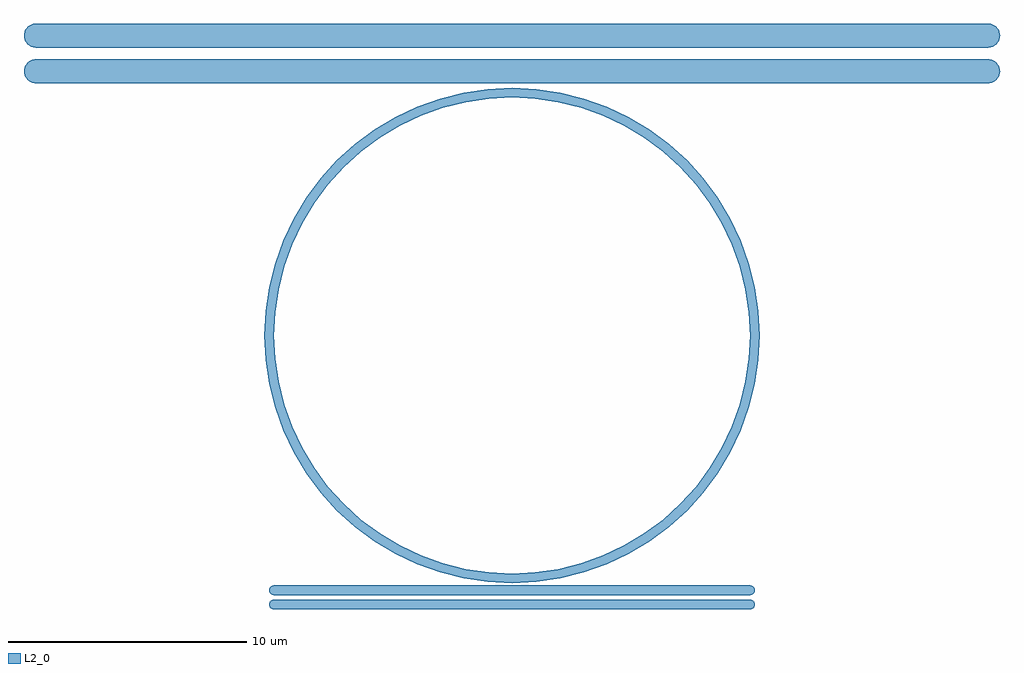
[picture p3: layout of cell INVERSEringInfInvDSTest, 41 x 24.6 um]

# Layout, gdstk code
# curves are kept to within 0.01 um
import gdstk
lib = gdstk.Library(unit=1e-6, precision=1e-09)
def R(c, l, rs):  # rectangles x0, y0, x1, y1
    for r in rs: c.add(gdstk.rectangle(r[:2], r[2:], *l))
def P(c, l, *ps):  # polygons
    for p in ps: c.add(gdstk.Polygon(p, *l))
L2_0 = (2, 0)

inverseringinfinvdstest = lib.new_cell('INVERSEringInfInvDSTest')
R(inverseringinfinvdstest, L2_0, [(-10,-11.5,10,-11.1), (-10,-10.9,10,-10.5), (-20,10.6,20,11.6), (-20,12.1,20,13.1)])
P(inverseringinfinvdstest, L2_0, [(0,-10.4),(-1.019,-10.35),(-2.029,-10.2),(-3.019,-9.952),(-3.98,-9.608),(-4.903,-9.172),(-5.778,-8.647),(-6.598,-8.039),(-7.354,-7.354),(-8.039,-6.598),(-8.647,-5.778),(-9.172,-4.903),(-9.608,-3.98),(-9.952,-3.019),(-10.2,-2.029),(-10.35,-1.019),(-10.4,0),(-10.35,1.019),(-10.2,2.029),(-9.952,3.019),(-9.608,3.98),(-9.172,4.903),(-8.647,5.778),(-8.039,6.598),(-7.354,7.354),(-6.598,8.039),(-5.778,8.647),(-4.903,9.172),(-3.98,9.608),(-3.019,9.952),(-2.029,10.2),(-1.019,10.35),(0,10.4),(1.019,10.35),(2.029,10.2),(3.019,9.952),(3.98,9.608),(4.903,9.172),(5.778,8.647),(6.598,8.039),(7.354,7.354),(8.039,6.598),(8.647,5.778),(9.172,4.903),(9.608,3.98),(9.952,3.019),(10.2,2.029),(10.35,1.019),(10.4,0),(10,0),(9.952,0.98),(9.808,1.951),(9.569,2.903),(9.239,3.827),(8.819,4.714),(8.315,5.556),(7.73,6.344),(7.071,7.071),(6.344,7.73),(5.556,8.315),(4.714,8.819),(3.827,9.239),(2.903,9.569),(1.951,9.808),(0.98,9.952),(0,10),(-0.98,9.952),(-1.951,9.808),(-2.903,9.569),(-3.827,9.239),(-4.714,8.819),(-5.556,8.315),(-6.344,7.73),(-7.071,7.071),(-7.73,6.344),(-8.315,5.556),(-8.819,4.714),(-9.239,3.827),(-9.569,2.903),(-9.808,1.951),(-9.952,0.98),(-10,0),(-9.952,-0.98),(-9.808,-1.951),(-9.569,-2.903),(-9.239,-3.827),(-8.819,-4.714),(-8.315,-5.556),(-7.73,-6.344),(-7.071,-7.071),(-6.344,-7.73),(-5.556,-8.315),(-4.714,-8.819),(-3.827,-9.239),(-2.903,-9.569),(-1.951,-9.808),(-0.98,-9.952),(0,-10),(0.98,-9.952),(1.951,-9.808),(2.903,-9.569),(3.827,-9.239),(4.714,-8.819),(5.556,-8.315),(6.344,-7.73),(7.071,-7.071),(7.73,-6.344),(8.315,-5.556),(8.819,-4.714),(9.239,-3.827),(9.569,-2.903),(9.808,-1.951),(9.952,-0.98),(10,0),(10.4,0),(10.35,-1.019),(10.2,-2.029),(9.952,-3.019),(9.608,-3.98),(9.172,-4.903),(8.647,-5.778),(8.039,-6.598),(7.354,-7.354),(6.598,-8.039),(5.778,-8.647),(4.903,-9.172),(3.98,-9.608),(3.019,-9.952),(2.029,-10.2),(1.019,-10.35)],
  [(20,10.6),(20,11.6),(20.101,11.59),(20.195,11.561),(20.354,11.454),(20.461,11.295),(20.49,11.201),(20.5,11.1),(20.49,10.999),(20.461,10.905),(20.354,10.746),(20.195,10.639),(20.101,10.61)],
  [(-20,10.6),(-20.101,10.61),(-20.195,10.639),(-20.354,10.746),(-20.461,10.905),(-20.49,10.999),(-20.5,11.1),(-20.49,11.201),(-20.461,11.295),(-20.354,11.454),(-20.195,11.561),(-20.101,11.59),(-20,11.6)],
  [(20,12.1),(20,13.1),(20.101,13.09),(20.195,13.061),(20.354,12.954),(20.461,12.795),(20.49,12.701),(20.5,12.6),(20.49,12.499),(20.461,12.405),(20.354,12.246),(20.195,12.139),(20.101,12.11)],
  [(-20,12.1),(-20.101,12.11),(-20.195,12.139),(-20.354,12.246),(-20.461,12.405),(-20.49,12.499),(-20.5,12.6),(-20.49,12.701),(-20.461,12.795),(-20.354,12.954),(-20.195,13.061),(-20.101,13.09),(-20,13.1)],
  [(10,-10.9),(10,-10.5),(10.078,-10.516),(10.141,-10.559),(10.184,-10.622),(10.2,-10.7),(10.184,-10.778),(10.141,-10.841),(10.078,-10.884)],
  [(-10,-10.9),(-10.078,-10.884),(-10.141,-10.841),(-10.184,-10.778),(-10.2,-10.7),(-10.184,-10.622),(-10.141,-10.559),(-10.078,-10.516),(-10,-10.5)],
  [(10,-11.5),(10,-11.1),(10.078,-11.116),(10.141,-11.159),(10.184,-11.222),(10.2,-11.3),(10.184,-11.378),(10.141,-11.441),(10.078,-11.484)],
  [(-10,-11.5),(-10.078,-11.484),(-10.141,-11.441),(-10.184,-11.378),(-10.2,-11.3),(-10.184,-11.222),(-10.141,-11.159),(-10.078,-11.116),(-10,-11.1)])

lib.write_gds('INVERSEringInfInvDSTest.gds')
